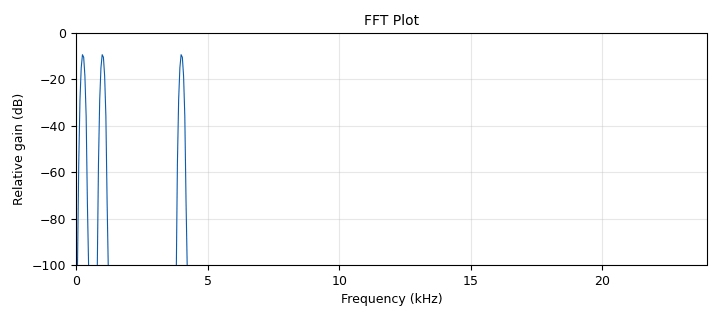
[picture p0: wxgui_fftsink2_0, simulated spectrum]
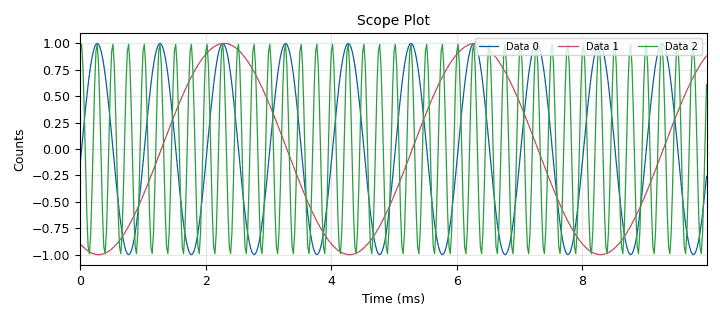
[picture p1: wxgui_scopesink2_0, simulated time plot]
<?xml version='1.0' encoding='utf-8'?>
<?grc format='1' created='3.7.11'?>
<flow_graph>
<block>
<key>options</key>
<param><key>id</key><value>interp_decim</value></param>
<param><key>category</key><value>Custom</value></param>
<param><key>generate_options</key><value>wx_gui</value></param>
</block>
<block>
<key>variable</key>
<param><key>id</key><value>samp_rate</value></param>
<param><key>value</key><value>48e3</value></param>
</block>
<block>
<key>analog_sig_source_x</key>
<param><key>id</key><value>analog_sig_source_x_0</value></param>
<param><key>amp</key><value>1</value></param>
<param><key>freq</key><value>1000</value></param>
<param><key>offset</key><value>0</value></param>
<param><key>type</key><value>float</value></param>
<param><key>samp_rate</key><value>samp_rate</value></param>
<param><key>waveform</key><value>analog.GR_COS_WAVE</value></param>
</block>
<block>
<key>analog_sig_source_x</key>
<param><key>id</key><value>analog_sig_source_x_1</value></param>
<param><key>amp</key><value>1</value></param>
<param><key>freq</key><value>1000</value></param>
<param><key>offset</key><value>0</value></param>
<param><key>type</key><value>float</value></param>
<param><key>samp_rate</key><value>samp_rate</value></param>
<param><key>waveform</key><value>analog.GR_COS_WAVE</value></param>
</block>
<block>
<key>analog_sig_source_x</key>
<param><key>id</key><value>analog_sig_source_x_2</value></param>
<param><key>amp</key><value>1</value></param>
<param><key>freq</key><value>1000</value></param>
<param><key>offset</key><value>0</value></param>
<param><key>type</key><value>float</value></param>
<param><key>samp_rate</key><value>samp_rate</value></param>
<param><key>waveform</key><value>analog.GR_COS_WAVE</value></param>
</block>
<block>
<key>blocks_add_xx</key>
<param><key>id</key><value>blocks_add_xx_0</value></param>
<param><key>type</key><value>float</value></param>
<param><key>num_inputs</key><value>3</value></param>
</block>
<block>
<key>blocks_throttle</key>
<param><key>id</key><value>blocks_throttle_0</value></param>
<param><key>samples_per_second</key><value>48e3</value></param>
<param><key>type</key><value>float</value></param>
</block>
<block>
<key>rational_resampler_xxx</key>
<param><key>id</key><value>rational_resampler_xxx_0</value></param>
<param><key>decim</key><value>1</value></param>
<param><key>interp</key><value>1</value></param>
<param><key>taps</key><value></value></param>
<param><key>type</key><value>fff</value></param>
</block>
<block>
<key>rational_resampler_xxx</key>
<param><key>id</key><value>rational_resampler_xxx_1</value></param>
<param><key>decim</key><value>1</value></param>
<param><key>interp</key><value>4</value></param>
<param><key>taps</key><value></value></param>
<param><key>type</key><value>fff</value></param>
</block>
<block>
<key>rational_resampler_xxx</key>
<param><key>id</key><value>rational_resampler_xxx_2</value></param>
<param><key>decim</key><value>4</value></param>
<param><key>interp</key><value>1</value></param>
<param><key>taps</key><value></value></param>
<param><key>type</key><value>fff</value></param>
</block>
<block>
<key>wxgui_fftsink2</key>
<param><key>id</key><value>wxgui_fftsink2_0</value></param>
<param><key>avg_alpha</key><value>0</value></param>
<param><key>average</key><value>False</value></param>
<param><key>baseband_freq</key><value>0</value></param>
<param><key>fft_size</key><value>1024</value></param>
<param><key>freqvar</key><value>None</value></param>
<param><key>peak_hold</key><value>False</value></param>
<param><key>ref_level</key><value>0</value></param>
<param><key>ref_scale</key><value>2.0</value></param>
<param><key>fft_rate</key><value>15</value></param>
<param><key>samp_rate</key><value>samp_rate</value></param>
<param><key>title</key><value>FFT Plot</value></param>
<param><key>type</key><value>float</value></param>
<param><key>win</key><value>None</value></param>
<param><key>y_divs</key><value>10</value></param>
<param><key>y_per_div</key><value>10</value></param>
</block>
<block>
<key>wxgui_scopesink2</key>
<param><key>id</key><value>wxgui_scopesink2_0</value></param>
<param><key>ac_couple</key><value>False</value></param>
<param><key>num_inputs</key><value>3</value></param>
<param><key>samp_rate</key><value>samp_rate</value></param>
<param><key>t_scale</key><value>0</value></param>
<param><key>title</key><value>Scope Plot</value></param>
<param><key>trig_mode</key><value>wxgui.TRIG_MODE_AUTO</value></param>
<param><key>type</key><value>float</value></param>
<param><key>v_offset</key><value>0</value></param>
<param><key>v_scale</key><value>0</value></param>
<param><key>xy_mode</key><value>False</value></param>
<param><key>y_axis_label</key><value>Counts</value></param>
</block>
<connection><source_block_id>analog_sig_source_x_0</source_block_id><sink_block_id>rational_resampler_xxx_0</sink_block_id><source_key>0</source_key><sink_key>0</sink_key></connection>
<connection><source_block_id>analog_sig_source_x_1</source_block_id><sink_block_id>rational_resampler_xxx_1</sink_block_id><source_key>0</source_key><sink_key>0</sink_key></connection>
<connection><source_block_id>analog_sig_source_x_2</source_block_id><sink_block_id>rational_resampler_xxx_2</sink_block_id><source_key>0</source_key><sink_key>0</sink_key></connection>
<connection><source_block_id>blocks_add_xx_0</source_block_id><sink_block_id>wxgui_fftsink2_0</sink_block_id><source_key>0</source_key><sink_key>0</sink_key></connection>
<connection><source_block_id>blocks_throttle_0</source_block_id><sink_block_id>blocks_add_xx_0</sink_block_id><source_key>0</source_key><sink_key>0</sink_key></connection>
<connection><source_block_id>blocks_throttle_0</source_block_id><sink_block_id>wxgui_scopesink2_0</sink_block_id><source_key>0</source_key><sink_key>0</sink_key></connection>
<connection><source_block_id>rational_resampler_xxx_0</source_block_id><sink_block_id>blocks_throttle_0</sink_block_id><source_key>0</source_key><sink_key>0</sink_key></connection>
<connection><source_block_id>rational_resampler_xxx_1</source_block_id><sink_block_id>blocks_add_xx_0</sink_block_id><source_key>0</source_key><sink_key>1</sink_key></connection>
<connection><source_block_id>rational_resampler_xxx_1</source_block_id><sink_block_id>wxgui_scopesink2_0</sink_block_id><source_key>0</source_key><sink_key>1</sink_key></connection>
<connection><source_block_id>rational_resampler_xxx_2</source_block_id><sink_block_id>blocks_add_xx_0</sink_block_id><source_key>0</source_key><sink_key>2</sink_key></connection>
<connection><source_block_id>rational_resampler_xxx_2</source_block_id><sink_block_id>wxgui_scopesink2_0</sink_block_id><source_key>0</source_key><sink_key>2</sink_key></connection>
</flow_graph>
